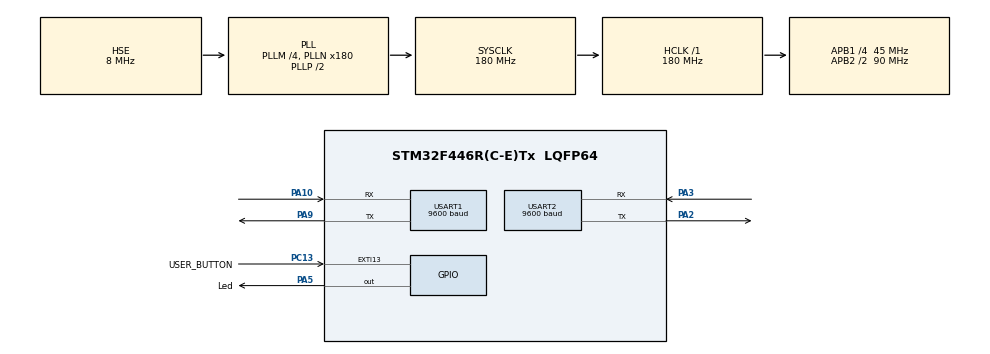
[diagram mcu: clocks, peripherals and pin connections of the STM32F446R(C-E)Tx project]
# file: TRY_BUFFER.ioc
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Mcu.Family=STM32F4
Mcu.Name=STM32F446R(C-E)Tx
Mcu.Package=LQFP64
NVIC.EXTI15_10_IRQn=true\:0\:0\:false\:false\:true\:true\:true
NVIC.PriorityGroup=NVIC_PRIORITYGROUP_0
NVIC.USART1_IRQn=true\:0\:0\:false\:false\:true\:true\:true
NVIC.USART2_IRQn=true\:0\:0\:false\:false\:true\:true\:true
PA10.Mode=Asynchronous
PA10.Signal=USART1_RX
PA2.Mode=Asynchronous
PA2.Signal=USART2_TX
PA3.Mode=Asynchronous
PA3.Signal=USART2_RX
PA5.GPIO_Label=Led
PA5.Signal=GPIO_Output
PA9.Mode=Asynchronous
PA9.Signal=USART1_TX
PC13.GPIO_Label=USER_BUTTON
PC13.Signal=GPXTI13
PC14-OSC32_IN.Mode=LSE-External-Oscillator
PC14-OSC32_IN.Signal=RCC_OSC32_IN
PC15-OSC32_OUT.Mode=LSE-External-Oscillator
PC15-OSC32_OUT.Signal=RCC_OSC32_OUT
PH0-OSC_IN.Mode=HSE-External-Oscillator
PH0-OSC_IN.Signal=RCC_OSC_IN
PH1-OSC_OUT.Mode=HSE-External-Oscillator
PH1-OSC_OUT.Signal=RCC_OSC_OUT
ProjectManager.HeapSize=0x200
ProjectManager.StackSize=0x400
ProjectManager.TargetToolchain=MDK-ARM V5.32
RCC.AHBFreq_Value=180000000
RCC.APB1CLKDivider=RCC_HCLK_DIV4
RCC.APB1Freq_Value=45000000
RCC.APB1TimFreq_Value=90000000
RCC.APB2CLKDivider=RCC_HCLK_DIV2
RCC.APB2Freq_Value=90000000
RCC.APB2TimFreq_Value=180000000
RCC.CortexFreq_Value=180000000
RCC.FLatency-AdvancedSettings=FLASH_LATENCY_5
RCC.HCLKFreq_Value=180000000
RCC.HSE_VALUE=8000000
RCC.HSI_VALUE=16000000
RCC.PLLM=4
RCC.PLLN=180
RCC.PLLSourceVirtual=RCC_PLLSOURCE_HSE
RCC.SYSCLKFreq_VALUE=180000000
RCC.SYSCLKSource=RCC_SYSCLKSOURCE_PLLCLK
RCC.USBFreq_Value=180000000
RCC.VCOOutputFreq_Value=360000000
USART1.BaudRate=9600
USART1.VirtualMode=VM_ASYNC
USART2.BaudRate=9600
USART2.VirtualMode=VM_ASYNC
board=NUCLEO-F446RE

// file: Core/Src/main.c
/* USER CODE BEGIN Header */
/**
  ******************************************************************************
  * @file           : main.c
  * @brief          : Main program body
  ******************************************************************************
  * @attention
  *
  * Copyright (c) 2022 STMicroelectronics.
  * All rights reserved.
  *
  * This software is licensed under terms that can be found in the LICENSE file
  * in the root directory of this software component.
  * If no LICENSE file comes with this software, it is provided AS-IS.
  *
  ******************************************************************************
  */
/* USER CODE END Header */
#include "main.h"

/* USER CODE BEGIN Includes */
#include <stdio.h>
#include <string.h>
#include <stdlib.h>
#include <math.h>
/* USER CODE END Includes */

/* USER CODE BEGIN PTD */
typedef struct Neo6M_GpsData
{
	double time;
	double latitude;
	double longitude;
	double Knots;
	double Date;
	char N_OR_S;
	char E_OR_W;
	char Data[750];
	char buffer[100];
	char location[100];

	UART_HandleTypeDef UartPort;
}Neo6M_GpsData;
/* USER CODE END PTD */

/* USER CODE BEGIN PD */
#define Min_To_Degree  0.01666666667
#define Sec_To_Degree	 0.000277777778
/* USER CODE END PD */

UART_HandleTypeDef huart1;
UART_HandleTypeDef huart2;

/* USER CODE BEGIN PV */

int Flag=0;

Neo6M_GpsData NEO_GPS;

/* USER CODE END PV */

void SystemClock_Config(void);
static void MX_GPIO_Init(void);
static void MX_USART1_UART_Init(void);
static void MX_USART2_UART_Init(void);
/* USER CODE BEGIN PFP */
void Get_GpsData(Neo6M_GpsData* GpsData);
static void NEO_GPS_Location(Neo6M_GpsData* GpsData);

/* USER CODE END PFP */

int main(void)
{

  /* MCU Configuration--------------------------------------------------------*/

  /* Reset of all peripherals, Initializes the Flash interface and the Systick. */
  HAL_Init();

  /* Configure the system clock */
  SystemClock_Config();

  /* Initialize all configured peripherals */
  MX_GPIO_Init();
  MX_USART1_UART_Init();
  MX_USART2_UART_Init();
  /* USER CODE BEGIN 2 */
	NEO_GPS.UartPort=huart1;
  /* USER CODE END 2 */

  /* Infinite loop */
  while (1)
  {

    /* USER CODE BEGIN 3 */
		Get_GpsData(&NEO_GPS);
		while(HAL_GPIO_ReadPin(GPIOC,GPIO_PIN_13)==GPIO_PIN_RESET);
	}
  /* USER CODE END 3 */
}

void SystemClock_Config(void)
{
  RCC_OscInitTypeDef RCC_OscInitStruct = {0};
  RCC_ClkInitTypeDef RCC_ClkInitStruct = {0};

  /** Configure the main internal regulator output voltage
  */
  __HAL_RCC_PWR_CLK_ENABLE();
  __HAL_PWR_VOLTAGESCALING_CONFIG(PWR_REGULATOR_VOLTAGE_SCALE1);
  /** Initializes the RCC Oscillators according to the specified parameters
  * in the RCC_OscInitTypeDef structure.
  */
  RCC_OscInitStruct.OscillatorType = RCC_OSCILLATORTYPE_HSE;
  RCC_OscInitStruct.HSEState = RCC_HSE_ON;
  RCC_OscInitStruct.PLL.PLLState = RCC_PLL_ON;
  RCC_OscInitStruct.PLL.PLLSource = RCC_PLLSOURCE_HSE;
  RCC_OscInitStruct.PLL.PLLM = 4;
  RCC_OscInitStruct.PLL.PLLN = 180;
  RCC_OscInitStruct.PLL.PLLP = RCC_PLLP_DIV2;
  RCC_OscInitStruct.PLL.PLLQ = 2;
  RCC_OscInitStruct.PLL.PLLR = 2;
  if (HAL_RCC_OscConfig(&RCC_OscInitStruct) != HAL_OK)
  {
    Error_Handler();
  }
  /** Activate the Over-Drive mode
  */
  if (HAL_PWREx_EnableOverDrive() != HAL_OK)
  {
    Error_Handler();
  }
  /** Initializes the CPU, AHB and APB buses clocks
  */
  RCC_ClkInitStruct.ClockType = RCC_CLOCKTYPE_HCLK|RCC_CLOCKTYPE_SYSCLK
                              |RCC_CLOCKTYPE_PCLK1|RCC_CLOCKTYPE_PCLK2;
  RCC_ClkInitStruct.SYSCLKSource = RCC_SYSCLKSOURCE_PLLCLK;
  RCC_ClkInitStruct.AHBCLKDivider = RCC_SYSCLK_DIV1;
  RCC_ClkInitStruct.APB1CLKDivider = RCC_HCLK_DIV4;
  RCC_ClkInitStruct.APB2CLKDivider = RCC_HCLK_DIV2;

  if (HAL_RCC_ClockConfig(&RCC_ClkInitStruct, FLASH_LATENCY_5) != HAL_OK)
  {
    Error_Handler();
  }
}

static void MX_USART1_UART_Init(void)
{

  huart1.Instance = USART1;
  huart1.Init.BaudRate = 9600;
  huart1.Init.WordLength = UART_WORDLENGTH_8B;
  huart1.Init.StopBits = UART_STOPBITS_1;
  huart1.Init.Parity = UART_PARITY_NONE;
  huart1.Init.Mode = UART_MODE_TX_RX;
  huart1.Init.HwFlowCtl = UART_HWCONTROL_NONE;
  huart1.Init.OverSampling = UART_OVERSAMPLING_16;
  if (HAL_UART_Init(&huart1) != HAL_OK)
  {
    Error_Handler();
  }
  /* USER CODE BEGIN USART1_Init 2 */
		__HAL_UART_ENABLE_IT(&huart1,UART_IT_RXNE);
  /* USER CODE END USART1_Init 2 */

}

static void MX_USART2_UART_Init(void)
{

  huart2.Instance = USART2;
  huart2.Init.BaudRate = 9600;
  huart2.Init.WordLength = UART_WORDLENGTH_8B;
  huart2.Init.StopBits = UART_STOPBITS_1;
  huart2.Init.Parity = UART_PARITY_NONE;
  huart2.Init.Mode = UART_MODE_TX_RX;
  huart2.Init.HwFlowCtl = UART_HWCONTROL_NONE;
  huart2.Init.OverSampling = UART_OVERSAMPLING_16;
  if (HAL_UART_Init(&huart2) != HAL_OK)
  {
    Error_Handler();
  }

}

static void MX_GPIO_Init(void)
{
  GPIO_InitTypeDef GPIO_InitStruct = {0};

  /* GPIO Ports Clock Enable */
  __HAL_RCC_GPIOC_CLK_ENABLE();
  __HAL_RCC_GPIOH_CLK_ENABLE();
  __HAL_RCC_GPIOA_CLK_ENABLE();

  /*Configure GPIO pin Output Level */
  HAL_GPIO_WritePin(Led_GPIO_Port, Led_Pin, GPIO_PIN_RESET);

  /*Configure GPIO pin : USER_BUTTON_Pin */
  GPIO_InitStruct.Pin = USER_BUTTON_Pin;
  GPIO_InitStruct.Mode = GPIO_MODE_IT_RISING;
  GPIO_InitStruct.Pull = GPIO_NOPULL;
  HAL_GPIO_Init(USER_BUTTON_GPIO_Port, &GPIO_InitStruct);

  /*Configure GPIO pin : Led_Pin */
  GPIO_InitStruct.Pin = Led_Pin;
  GPIO_InitStruct.Mode = GPIO_MODE_OUTPUT_PP;
  GPIO_InitStruct.Pull = GPIO_NOPULL;
  GPIO_InitStruct.Speed = GPIO_SPEED_FREQ_LOW;
  HAL_GPIO_Init(Led_GPIO_Port, &GPIO_InitStruct);

  /* EXTI interrupt init*/
  HAL_NVIC_SetPriority(EXTI15_10_IRQn, 0, 0);
  HAL_NVIC_EnableIRQ(EXTI15_10_IRQn);

}

/* USER CODE BEGIN 4 */
void Get_GpsData(Neo6M_GpsData* GpsData)
{
	char *P;
	int n;
		if(Flag==1)
		{
			HAL_UART_Receive(&GpsData->UartPort,(uint8_t*)GpsData->Data,700,HAL_MAX_DELAY);
			P=strstr(GpsData->Data,"GPRMC");
			if(*P=='G')
			{
				n=0;
				while(*(P+n)!='\n'){

						GpsData->location[n]=*(P+n);
						n++;}
					sprintf(GpsData->buffer,"%s\r\n\n",GpsData->location);
					sscanf(GpsData->buffer,"GPRMC,%lf,A,%lf,%c,%lf,%c,%lf,,%lf,,,A*64",&GpsData->time,&GpsData->latitude,&GpsData->N_OR_S,&GpsData->longitude,&GpsData->E_OR_W,&GpsData->Knots,&GpsData->Date);
					NEO_GPS_Location(GpsData);
			}
			__HAL_UART_ENABLE_IT(&GpsData->UartPort,UART_IT_RXNE);
			Flag=0;
		}

}

static void NEO_GPS_Location(Neo6M_GpsData* GpsData)
{
	double Deg_Val=0.0,Min_Val=0.0,Sec_Val=0.0,lon=0.0,lat=0.0;

	lon=GpsData->longitude;
	lat=GpsData->latitude;
	if(GpsData->E_OR_W=='E' && GpsData->N_OR_S=='S')
	{
		Deg_Val=(int)(lon/100);
		Min_Val=(int)(lon-(Deg_Val*100));
		Sec_Val=((lon-(Deg_Val*100))-Min_Val)*100;
		GpsData->longitude=Deg_Val+(Min_Val*Min_To_Degree)+(Sec_Val*Sec_To_Degree);

		Deg_Val=(int)((lat/100));
		Min_Val=(int)(lat-(Deg_Val*100));
		Sec_Val=((lat-(Deg_Val*100))-Min_Val)*10;
		GpsData->latitude=(Deg_Val+(Min_Val*Min_To_Degree)+(Sec_Val*Sec_To_Degree))*-1;
	}
}
/* USER CODE END 4 */

void Error_Handler(void)
{
  __disable_irq();
  while (1)
  {
  }
}
